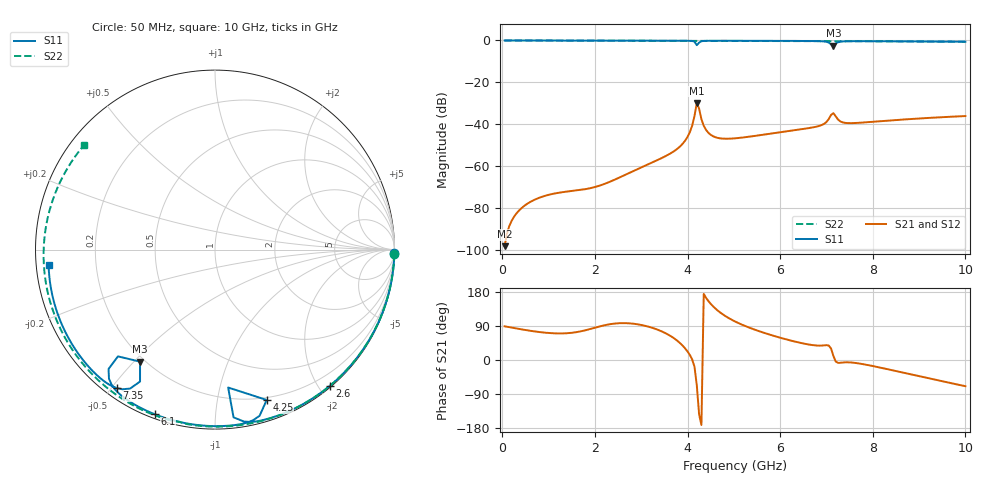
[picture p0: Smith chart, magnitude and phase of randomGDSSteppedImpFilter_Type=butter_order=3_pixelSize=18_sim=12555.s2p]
! freq	dB(S11)	phase(S11)	dB(S12)	phase(S12)
!  dB(S21)	phase(S21)	dB(S22)	phase(S22)
!S-par simulation data
#  GHz  S  DB  R 50
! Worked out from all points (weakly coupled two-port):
!   200 points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, 50 MHz to 10 GHz, reference 50 ohm
!   highest |S21| = -29.72 dB at 4.2 GHz (marker M1); lowest = -98.0 dB at 50 MHz (marker M2)
!   lowest |S11| = -2.5 dB at 7.15 GHz (marker M3), VSWR 7.03, Z = 9.08 - j26 ohm
!   |S11| at or under -10 dB: nowhere
!   |S22| runs from -0.6 to 0.0 dB; largest |S21 - S12| = 0
!   S11 on the Smith chart (normalised r, x): 50 MHz: open; 2.6 GHz: 0.02, -2.15; 4.25 GHz: 0.18, -1.39; 6.1 GHz: 0.02, -0.70; 7.35 GHz: 0.04, -0.52; 10 GHz: 0.04, -0.05
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0.05  -0.00 -1.0  -97.97 88.9  -97.97 88.9  -0.00 -1.3
0.4  -0.01 -7.9  -80.15 81.2  -80.15 81.2  -0.01 -10.5
0.9  -0.02 -17.6  -74.14 72.4  -74.14 72.4  -0.03 -23.5
1.75  -0.04 -33.9  -70.98 77.1  -70.98 77.1  -0.06 -45.1
2.6  -0.06 -49.9  -64.56 97.3  -64.56 97.3  -0.08 -65.6
3.4  -0.09 -64.7  -56.45 77.8  -56.45 77.8  -0.11 -84.0
3.95  -0.13 -75.6  -47.66 30.3  -47.66 30.3  -0.13 -96.1
4.1  -0.25 -80.4  -40.59 1.4  -40.59 1.4  -0.14 -99.4
4.15  -0.53 -83.7  -36.03 -17.4  -36.03 -17.4  -0.15 -100.5
4.2  -2.25 -84.5  -29.72 -66.6  -29.72 -66.6  -0.18 -101.6
4.25  -1.05 -71.0  -32.51 -143.7  -32.51 -143.7  -0.16 -102.4
4.35  -0.23 -77.4  -40.61 174.3  -40.61 174.3  -0.15 -104.6
4.5  -0.15 -81.7  -44.93 148.3  -44.93 148.3  -0.15 -107.7
5.05  -0.15 -92.1  -46.57 100.2  -46.57 100.2  -0.18 -119.1
6.1  -0.20 -110.1  -43.41 55.4  -43.41 55.4  -0.24 -140.0
6.7  -0.27 -121.0  -41.43 39.3  -41.43 39.3  -0.28 -151.7
7.05  -1.00 -131.7  -37.41 38.1  -37.41 38.1  -0.31 -158.5
7.15  -2.49 -123.8  -34.63 10.5  -34.63 10.5  -0.32 -160.4
7.25  -0.85 -121.4  -37.67 -7.5  -37.67 -7.5  -0.32 -162.4
7.35  -0.49 -125.3  -39.02 -6.6  -39.02 -6.6  -0.33 -164.3
8.35  -0.39 -144.8  -38.15 -25.1  -38.15 -25.1  -0.42 176.0
10  -0.62 -174.7  -36.01 -69.1  -36.01 -69.1  -0.60 141.3
